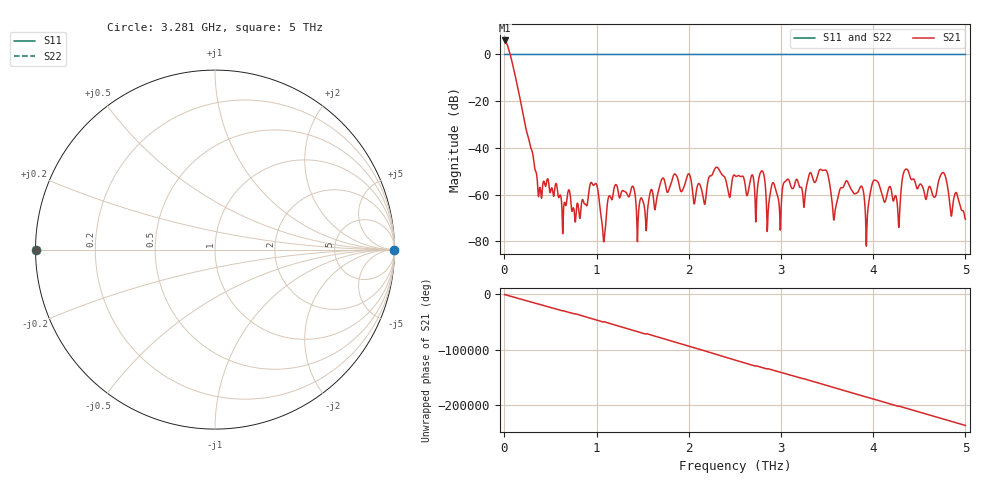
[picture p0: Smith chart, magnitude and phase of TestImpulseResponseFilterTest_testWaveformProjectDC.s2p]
! File created by SignalIntegrity v1.1.17: Signal and Power Integrity Tools
! https://github.com/TeledyneLeCroy/SignalIntegrity
# MHz S MA R 50.0
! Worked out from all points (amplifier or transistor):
!   1524 points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, 3.281 GHz to 5 THz, reference 50 ohm
!   highest |S21| = 6.0 dB at 3.281 GHz (marker M1)
!   |S21| within 3 dB of that: start of sweep to 41.31 GHz
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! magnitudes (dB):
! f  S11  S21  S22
! 3.281 GHz  0.0  6.0  0.0
! 383.9 GHz  0.0  -57.1  0.0
! 836.6 GHz  0.0  -63.8  0.0
! 990.8 GHz  0.0  -55.2  0.0
! 1.079 THz  0.0  -80.2  0.0
! 1.207 THz  0.0  -55.7  0.0
! 1.45 THz  0.0  -71.6  0.0
! 1.67 THz  0.0  -58.6  0.0
! 2.503 THz  0.0  -51.9  0.0
! 2.73 THz  0.0  -70.5  0.0
! 2.795 THz  0.0  -49.8  0.0
! 2.861 THz  0.0  -67.4  0.0
! 3.337 THz  0.0  -51.9  0.0
! 3.491 THz  0.0  -49.7  0.0
! 3.579 THz  0.0  -69.5  0.0
! 3.707 THz  0.0  -54.1  0.0
! 3.93 THz  0.0  -75.4  0.0
! 4.006 THz  0.0  -53.9  0.0
! 4.17 THz  0.0  -57.0  0.0
! 4.275 THz  0.0  -72.8  0.0
! 4.757 THz  0.0  -50.5  0.0
! 5 THz  0.0  -70.5  0.0
